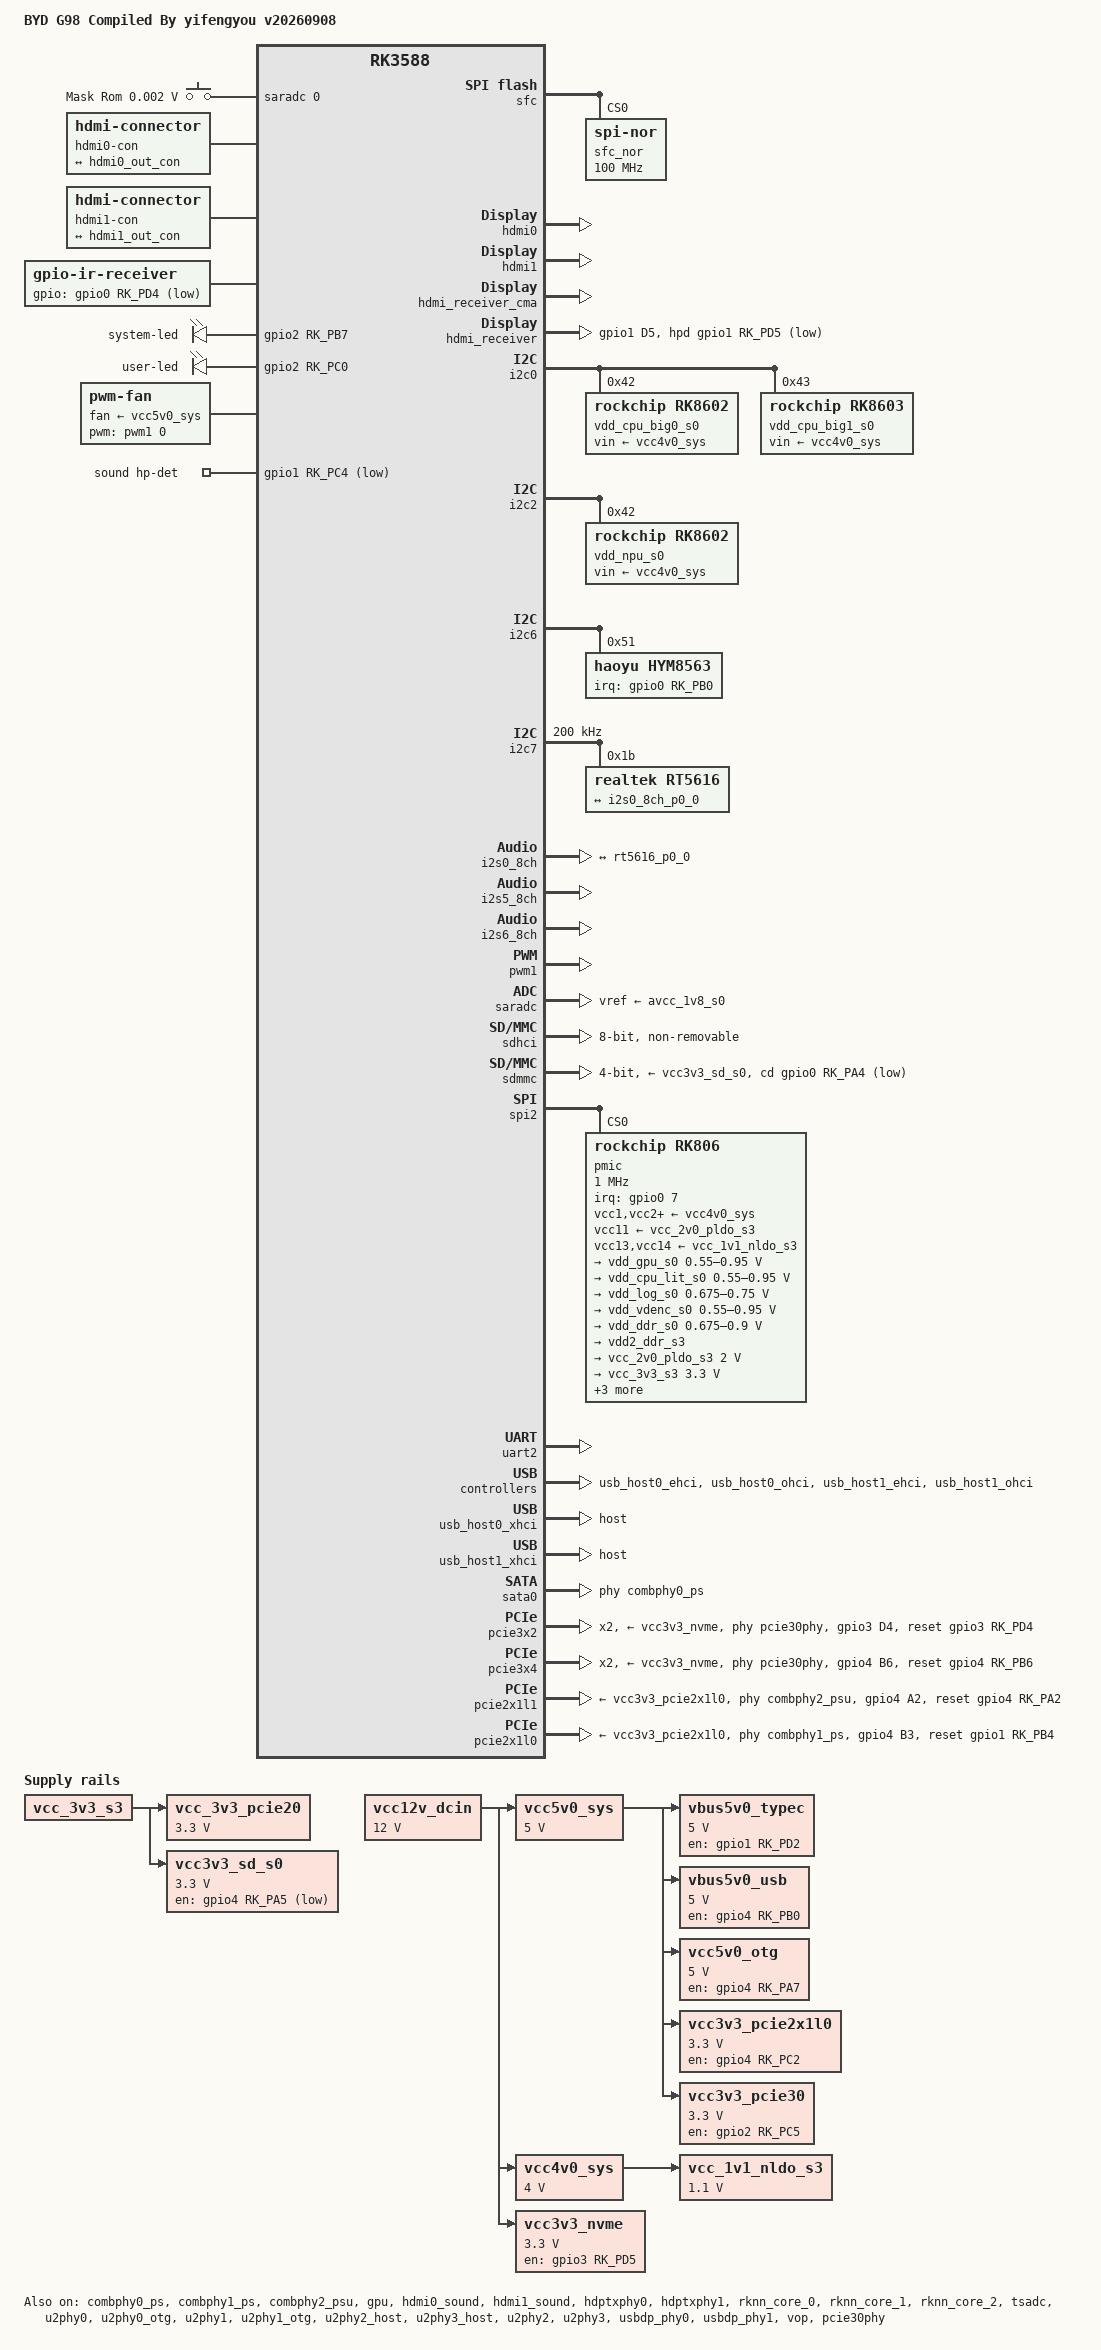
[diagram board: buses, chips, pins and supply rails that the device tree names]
// SPDX-License-Identifier: (GPL-2.0+ OR MIT)
/*
 * Copyright (c) 2021 Rockchip Electronics Co., Ltd.
 * Copyright (c) 2023 Thomas McKahan
 *
 */
/dts-v1/;

#include <dt-bindings/gpio/gpio.h>
#include <dt-bindings/input/input.h>
#include <dt-bindings/pinctrl/rockchip.h>
#include <dt-bindings/soc/rockchip,vop2.h>
#include <dt-bindings/thermal/thermal.h>
#include <dt-bindings/usb/pd.h>
#include "rk3588.dtsi"

/ {
	model = "BYD G98 Compiled By yifengyou v20260908";
	compatible = "rockchip,rk3588", "rockchip,rk3588-evb";

	chosen {
		stdout-path = "serial2:1500000n8";
		u-boot,spl-boot-order = "same-as-spl", &spi_nor;
	};

	aliases {
		spi5 = &sfc;
		mmc0 = &sdhci;
		mmc1 = &sdmmc;
	};

	adc-keys-0 {
		compatible = "adc-keys";
		io-channels = <&saradc 0>;
		io-channel-names = "buttons";
		keyup-threshold-microvolt = <1800000>;
		poll-interval = <100>;

		button-maskrom {
			label = "Mask Rom";
			linux,code = <KEY_SETUP>;
			press-threshold-microvolt = <2000>;
		};
	};

	hdmi0-con {
		compatible = "hdmi-connector";
		type = "a";

		port {
			hdmi0_con_in: endpoint {
				remote-endpoint = <&hdmi0_out_con>;
			};
		};
	};

	hdmi1-con {
		compatible = "hdmi-connector";
		type = "a";

		port {
			hdmi1_con_in: endpoint {
				remote-endpoint = <&hdmi1_out_con>;
			};
		};
	};

	ir-receiver {
		compatible = "gpio-ir-receiver";
		gpios = <&gpio0 RK_PD4 GPIO_ACTIVE_LOW>;
		pinctrl-names = "default";
		pinctrl-0 = <&ir_receiver_pin>;
	};

	leds {
		compatible = "gpio-leds";

		sys_led: led-0 {
			gpios = <&gpio2 RK_PB7 GPIO_ACTIVE_HIGH>;
			label = "system-led";
			linux,default-trigger = "heartbeat";
			pinctrl-names = "default";
			pinctrl-0 = <&sys_led_pin>;
		};

		usr_led: led-1 {
			gpios = <&gpio2 RK_PC0 GPIO_ACTIVE_HIGH>;
			label = "user-led";
			pinctrl-names = "default";
			pinctrl-0 = <&usr_led_pin>;
		};
	};

	fan: pwm-fan {
		compatible = "pwm-fan";
		cooling-levels = <0 35 64 100 150 255>;
		fan-supply = <&vcc5v0_sys>;
		pwms = <&pwm1 0 50000 0>;
		#cooling-cells = <2>;
	};

	sound {
		compatible = "simple-audio-card";
		pinctrl-names = "default";
		pinctrl-0 = <&hp_det>;

		simple-audio-card,name = "realtek,rt5616-codec";
		simple-audio-card,format = "i2s";
		simple-audio-card,mclk-fs = <256>;

		simple-audio-card,hp-det-gpios = <&gpio1 RK_PC4 GPIO_ACTIVE_LOW>;

		simple-audio-card,widgets =
			"Headphone", "Headphones",
			"Microphone", "Microphone Jack";
		simple-audio-card,routing =
			"Headphones", "HPOL",
			"Headphones", "HPOR",
			"MIC1", "Microphone Jack",
			"Microphone Jack", "micbias1";

		simple-audio-card,cpu {
			sound-dai = <&i2s0_8ch>;
		};
		simple-audio-card,codec {
			sound-dai = <&rt5616>;
		};
	};

	vcc12v_dcin: regulator-vcc12v-dcin {
		compatible = "regulator-fixed";
		regulator-name = "vcc12v_dcin";
		regulator-always-on;
		regulator-boot-on;
		regulator-min-microvolt = <12000000>;
		regulator-max-microvolt = <12000000>;
	};

	/* vcc5v0_sys powers peripherals */
	vcc5v0_sys: regulator-vcc5v0-sys {
		compatible = "regulator-fixed";
		regulator-name = "vcc5v0_sys";
		regulator-always-on;
		regulator-boot-on;
		regulator-min-microvolt = <5000000>;
		regulator-max-microvolt = <5000000>;
		vin-supply = <&vcc12v_dcin>;
	};

	/* vcc4v0_sys powers the RK806, RK860's */
	vcc4v0_sys: regulator-vcc4v0-sys {
		compatible = "regulator-fixed";
		regulator-name = "vcc4v0_sys";
		regulator-always-on;
		regulator-boot-on;
		regulator-min-microvolt = <4000000>;
		regulator-max-microvolt = <4000000>;
		vin-supply = <&vcc12v_dcin>;
	};

	vcc_1v1_nldo_s3: regulator-vcc-1v1-nldo-s3 {
		compatible = "regulator-fixed";
		regulator-name = "vcc-1v1-nldo-s3";
		regulator-always-on;
		regulator-boot-on;
		regulator-min-microvolt = <1100000>;
		regulator-max-microvolt = <1100000>;
		vin-supply = <&vcc4v0_sys>;
	};

	vcc_3v3_pcie20: regulator-vcc3v3-pcie20 {
		compatible = "regulator-fixed";
		regulator-name = "vcc_3v3_pcie20";
		regulator-always-on;
		regulator-boot-on;
		regulator-min-microvolt = <3300000>;
		regulator-max-microvolt = <3300000>;
		vin-supply = <&vcc_3v3_s3>;
	};

	vbus5v0_typec: regulator-vbus5v0-typec {
		compatible = "regulator-fixed";
		enable-active-high;
		gpio = <&gpio1 RK_PD2 GPIO_ACTIVE_HIGH>;
		pinctrl-names = "default";
		pinctrl-0 = <&typec5v_pwren>;
		regulator-name = "vbus5v0_typec";
		regulator-min-microvolt = <5000000>;
		regulator-max-microvolt = <5000000>;
		vin-supply = <&vcc5v0_sys>;
	};

	vbus5v0_usb: regulator-vbus5v0-usb {
		compatible = "regulator-fixed";
		enable-active-high;
		gpio = <&gpio4 RK_PB0 GPIO_ACTIVE_HIGH>;
		pinctrl-names = "default";
		pinctrl-0 = <&usb5v_pwren>;
		regulator-name = "vbus5v0_usb";
		regulator-min-microvolt = <5000000>;
		regulator-max-microvolt = <5000000>;
		vin-supply = <&vcc5v0_sys>;
	};

	// vcc5v0-otg-regulator
	vcc5v0_otg: regulator-vbus5v0-usb-otg {
		compatible = "regulator-fixed";
		enable-active-high;
		gpio = <&gpio4 RK_PA7 GPIO_ACTIVE_HIGH>;
		pinctrl-names = "default";
		pinctrl-0 = <&vcc5v0_otg_en>;
		regulator-min-microvolt = <5000000>;
		regulator-max-microvolt = <5000000>;
		regulator-name = "vcc5v0_otg";
		vin-supply = <&vcc5v0_sys>;
		u-boot,dm-pre-reloc;
	};

	vcc3v3_pcie2x1l0: regulator-vcc3v3-pcie2x1l0 {
		compatible = "regulator-fixed";
		enable-active-high;
		gpio = <&gpio4 RK_PC2 GPIO_ACTIVE_HIGH>;
		pinctrl-names = "default";
		pinctrl-0 = <&pcie_m2_1_pwren>;
		regulator-name = "vcc3v3_pcie2x1l0";
		regulator-min-microvolt = <3300000>;
		regulator-max-microvolt = <3300000>;
		vin-supply = <&vcc5v0_sys>;
		startup-delay-us = <7500>;
		regulator-always-on;
	};

	vcc3v3_pcie30: regulator-vcc3v3-pcie30 {
		compatible = "regulator-fixed";
		enable-active-high;
		gpios = <&gpio2 RK_PC5 GPIO_ACTIVE_HIGH>;
		pinctrl-names = "default";
		pinctrl-0 = <&pcie_m2_0_pwren>;
		regulator-name = "vcc3v3_pcie30";
		regulator-min-microvolt = <3300000>;
		regulator-max-microvolt = <3300000>;
		vin-supply = <&vcc5v0_sys>;
	};

	// vcc3v3-pcie30
	vcc3v3_nvme: vcc3v3-nvme {
		compatible = "regulator-fixed";
		regulator-min-microvolt = <3300000>;
		regulator-max-microvolt = <3300000>;
		regulator-name = "vcc3v3_nvme";
		vin-supply = <&vcc12v_dcin>;
		enable-active-high;
		gpios = <&gpio3 RK_PD5 GPIO_ACTIVE_HIGH>;
		startup-delay-us = <7500>;
		pinctrl-names = "default";
		pinctrl-0 = <&nvme_power_en>;
		regulator-always-on;
		u-boot,dm-pre-reloc;
	};

	vcc3v3_sd_s0: regulator-vcc3v3-sd-s0 {
		compatible = "regulator-fixed";
		gpio = <&gpio4 RK_PA5 GPIO_ACTIVE_LOW>;
		regulator-boot-on;
		regulator-max-microvolt = <3300000>;
		regulator-min-microvolt = <3300000>;
		regulator-name = "vcc3v3_sd_s0";
		vin-supply = <&vcc_3v3_s3>;
	};
};


&pinctrl {
	nvme {
		nvme_power_en: nvme-power-en {
			rockchip,pins = <3 RK_PD5 RK_FUNC_GPIO &pcfg_pull_none>;
		};
	};

	usb {
		pin_4g_lte_pwren: 4g-lte-pwren {
			rockchip,pins = <4 RK_PC6 RK_FUNC_GPIO &pcfg_pull_none>;
		};
	};

	pcie {
		pcie2_0_rst: pcie2-0-rst {
			rockchip,pins = <1 RK_PB4 RK_FUNC_GPIO &pcfg_pull_none>;
		};

		pcie2_1_rst: pcie2-1-rst {
			rockchip,pins = <4 RK_PA2 RK_FUNC_GPIO &pcfg_pull_none>;
		};

		pcie3x2_rst: pcie3x2-rst {
			rockchip,pins = <3 RK_PD4 RK_FUNC_GPIO &pcfg_pull_none>;
		};

		pcie3x4_rst: pcie3x4-rst {
			rockchip,pins = <4 RK_PB6 RK_FUNC_GPIO &pcfg_pull_none>;
		};
	};
};

// sfc: spi@fe2b0000
&sfc {
	status = "okay";
	u-boot,dm-pre-reloc;
	u-boot,dm-spl;
	bootph-all;
	bootph-pre-ram;
	bootph-some-ram;
	pinctrl-names = "default";
	pinctrl-0 = <&fspim0_pins>;
	/delete-node/ flash@1;

	spi_nor: flash@0 {
		u-boot,dm-spl;
		compatible = "jedec,spi-nor";
		label = "sfc_nor";
		reg = <0x00>;
		spi-tx-bus-width = <0x01>;
		spi-rx-bus-width = <0x04>;
		spi-max-frequency = <0x5f5e100>;
		spi-4byte-addressing;
		bootph-all;
		bootph-pre-ram;
		bootph-some-ram;
	};
};

&combphy0_ps {
	status = "okay";
};

&combphy1_ps {
	status = "okay";
};

&combphy2_psu {
	status = "okay";
};

&cpu_l0 {
	cpu-supply = <&vdd_cpu_lit_s0>;
};

&cpu_l1 {
	cpu-supply = <&vdd_cpu_lit_s0>;
};

&cpu_l2 {
	cpu-supply = <&vdd_cpu_lit_s0>;
};

&cpu_l3 {
	cpu-supply = <&vdd_cpu_lit_s0>;
};

&cpu_b0 {
	cpu-supply = <&vdd_cpu_big0_s0>;
};

&cpu_b1 {
	cpu-supply = <&vdd_cpu_big0_s0>;
};

&cpu_b2 {
	cpu-supply = <&vdd_cpu_big1_s0>;
};

&cpu_b3 {
	cpu-supply = <&vdd_cpu_big1_s0>;
};

&gpio0 {
	gpio-line-names = /* GPIO0 A0-A7 */
			  "", "", "", "",
			  "", "", "", "",
			  /* GPIO0 B0-B7 */
			  "", "", "", "",
			  "", "", "", "",
			  /* GPIO0 C0-C7 */
			  "", "", "", "",
			  "HEADER_10", "HEADER_08", "HEADER_32", "",
			  /* GPIO0 D0-D7 */
			  "", "", "", "",
			  "IR receiver [PWM3_IR_M0]", "", "", "";
};

&gpio1 {
	gpio-line-names = /* GPIO1 A0-A7 */
			  "HEADER_27", "HEADER_28", "", "",
			  "", "", "", "HEADER_15",
			  /* GPIO1 B0-B7 */
			  "HEADER_26", "HEADER_21", "HEADER_19", "HEADER_23",
			  "HEADER_24", "HEADER_22", "", "",
			  /* GPIO1 C0-C7 */
			  "", "", "", "",
			  "", "", "", "",
			  /* GPIO1 D0-D7 */
			  "", "", "", "",
			  "", "", "HEADER_05", "HEADER_03";
};

&gpio2 {
	gpio-line-names = /* GPIO2 A0-A7 */
			  "", "", "", "",
			  "", "", "", "",
			  /* GPIO2 B0-B7 */
			  "", "", "", "",
			  "", "", "", "",
			  /* GPIO2 C0-C7 */
			  "", "CSI1_11", "CSI1_12", "",
			  "", "", "", "",
			  /* GPIO2 D0-D7 */
			  "", "", "", "",
			  "", "", "", "";
};

&gpio3 {
	gpio-line-names = /* GPIO3 A0-A7 */
			  "HEADER_35", "HEADER_38", "HEADER_40", "HEADER_36",
			  "HEADER_37", "", "DSI0_12", "",
			  /* GPIO3 B0-B7 */
			  "HEADER_33", "DSI0_10", "HEADER_07", "HEADER_16",
			  "HEADER_18", "HEADER_29", "HEADER_31", "HEADER_12",
			  /* GPIO3 C0-C7 */
			  "DSI0_08", "DSI0_14", "HEADER_11", "HEADER_13",
			  "", "", "", "",
			  /* GPIO3 D0-D7 */
			  "", "", "", "",
			  "", "DSI1_10", "", "";
};

&gpio4 {
	gpio-line-names = /* GPIO4 A0-A7 */
			  "DSI1_08", "DSI1_14", "", "DSI1_12",
			  "", "", "", "",
			  /* GPIO4 B0-B7 */
			  "", "", "", "",
			  "", "", "", "",
			  /* GPIO4 C0-C7 */
			  "", "", "", "",
			  "CSI0_11", "CSI0_12", "", "",
			  /* GPIO4 D0-D7 */
			  "", "", "", "",
			  "", "", "", "";
};

&gpu {
	mali-supply = <&vdd_gpu_s0>;
	status = "okay";
};

&hdmi0 {
	status = "okay";
};

&hdmi0_in {
	hdmi0_in_vp0: endpoint {
		remote-endpoint = <&vp0_out_hdmi0>;
	};
};

&hdmi0_out {
	hdmi0_out_con: endpoint {
		remote-endpoint = <&hdmi0_con_in>;
	};
};

&hdmi0_sound {
	status = "okay";
};

&hdmi1 {
	status = "okay";
};

&hdmi1_in {
	hdmi1_in_vp1: endpoint {
		remote-endpoint = <&vp1_out_hdmi1>;
	};
};

&hdmi1_out {
	hdmi1_out_con: endpoint {
		remote-endpoint = <&hdmi1_con_in>;
	};
};

&hdmi1_sound {
	status = "okay";
};

&hdmi_receiver_cma {
	status = "okay";
};

&hdmi_receiver {
	hpd-gpios = <&gpio1 RK_PD5 GPIO_ACTIVE_LOW>;
	pinctrl-0 = <&hdmim1_rx_cec &hdmim1_rx_hpdin &hdmim1_rx_scl &hdmim1_rx_sda &hdmirx_hpd>;
	pinctrl-names = "default";
	status = "okay";
};

&hdptxphy0 {
	status = "okay";
};

&hdptxphy1 {
	status = "okay";
};

&i2c0 {
	pinctrl-names = "default";
	pinctrl-0 = <&i2c0m2_xfer>;
	status = "okay";

	vdd_cpu_big0_s0: regulator@42 {
		compatible = "rockchip,rk8602";
		reg = <0x42>;
		fcs,suspend-voltage-selector = <1>;
		regulator-name = "vdd_cpu_big0_s0";
		regulator-always-on;
		regulator-boot-on;
		regulator-min-microvolt = <550000>;
		regulator-max-microvolt = <1050000>;
		regulator-ramp-delay = <2300>;
		vin-supply = <&vcc4v0_sys>;

		regulator-state-mem {
			regulator-off-in-suspend;
		};
	};

	vdd_cpu_big1_s0: regulator@43 {
		compatible = "rockchip,rk8603", "rockchip,rk8602";
		reg = <0x43>;
		fcs,suspend-voltage-selector = <1>;
		regulator-name = "vdd_cpu_big1_s0";
		regulator-always-on;
		regulator-boot-on;
		regulator-min-microvolt = <550000>;
		regulator-max-microvolt = <1050000>;
		regulator-ramp-delay = <2300>;
		vin-supply = <&vcc4v0_sys>;

		regulator-state-mem {
			regulator-off-in-suspend;
		};
	};
};

&i2c2 {
	status = "okay";

	vdd_npu_s0: regulator@42 {
		compatible = "rockchip,rk8602";
		reg = <0x42>;
		fcs,suspend-voltage-selector = <1>;
		regulator-name = "vdd_npu_s0";
		regulator-boot-on;
		regulator-min-microvolt = <550000>;
		regulator-max-microvolt = <950000>;
		regulator-ramp-delay = <2300>;
		vin-supply = <&vcc4v0_sys>;

		regulator-state-mem {
			regulator-off-in-suspend;
		};
	};
};

&i2c6 {
	status = "okay";

	hym8563: rtc@51 {
		compatible = "haoyu,hym8563";
		reg = <0x51>;
		#clock-cells = <0>;
		clock-output-names = "hym8563";
		pinctrl-names = "default";
		pinctrl-0 = <&hym8563_int>;
		interrupt-parent = <&gpio0>;
		interrupts = <RK_PB0 IRQ_TYPE_LEVEL_LOW>;
		wakeup-source;
	};
};

&i2c7 {
	clock-frequency = <200000>;
	status = "okay";

	rt5616: codec@1b {
		compatible = "realtek,rt5616";
		reg = <0x1b>;
		clocks = <&cru I2S0_8CH_MCLKOUT>;
		clock-names = "mclk";
		#sound-dai-cells = <0>;
		assigned-clocks = <&cru I2S0_8CH_MCLKOUT>;
		assigned-clock-rates = <12288000>;

		port {
			rt5616_p0_0: endpoint {
				remote-endpoint = <&i2s0_8ch_p0_0>;
			};
		};
	};

	/* connected with MIPI-CSI1 */
};

&i2c8 {
	pinctrl-0 = <&i2c8m2_xfer>;
};

&i2s0_8ch {
	pinctrl-names = "default";
	pinctrl-0 = <&i2s0_lrck
		     &i2s0_mclk
		     &i2s0_sclk
		     &i2s0_sdi0
		     &i2s0_sdo0>;
	status = "okay";

	i2s0_8ch_p0: port {
		i2s0_8ch_p0_0: endpoint {
			dai-format = "i2s";
			mclk-fs = <256>;
			remote-endpoint = <&rt5616_p0_0>;
		};
	};
};

&i2s5_8ch {
	status = "okay";
};

&i2s6_8ch {
	status = "okay";
};

&package_thermal {
	polling-delay = <1000>;

	trips {
		package_warm: package-warm {
			temperature = <55000>;
			hysteresis = <2000>;
			type = "active";
		};

		package_hot: package-hot {
			temperature = <65000>;
			hysteresis = <2000>;
			type = "active";
		};
	};

	cooling-maps {
		map0 {
			trip = <&package_warm>;
			cooling-device = <&fan THERMAL_NO_LIMIT 1>;
		};

		map1 {
			trip = <&package_hot>;
			cooling-device = <&fan 2 THERMAL_NO_LIMIT>;
		};
	};
};

&pd_gpu {
	domain-supply = <&vdd_gpu_s0>;
};

&pd_npu {
	domain-supply = <&vdd_npu_s0>;
};

&pinctrl {
	gpio-leds {
		sys_led_pin: sys-led-pin {
			rockchip,pins = <2 RK_PB7 RK_FUNC_GPIO &pcfg_pull_none>;
		};

		usr_led_pin: usr-led-pin {
			rockchip,pins = <2 RK_PC0 RK_FUNC_GPIO &pcfg_pull_none>;
		};
	};

	hdmirx {
		hdmirx_hpd: hdmirx-5v-detection {
			rockchip,pins = <1 RK_PD5 RK_FUNC_GPIO &pcfg_pull_none>;
		};
	};

	headphone {
		hp_det: hp-det {
			rockchip,pins = <1 RK_PC4 RK_FUNC_GPIO &pcfg_pull_none>;
		};
	};

	hym8563 {
		hym8563_int: hym8563-int {
			rockchip,pins = <0 RK_PB0 RK_FUNC_GPIO &pcfg_pull_up>;
		};
	};

	ir-receiver {
		ir_receiver_pin: ir-receiver-pin {
			rockchip,pins = <0 RK_PD4 RK_FUNC_GPIO &pcfg_pull_none>;
		};
	};

	pcie {
		pcie2_0_rst: pcie2-0-rst {
			rockchip,pins = <4 RK_PB3 RK_FUNC_GPIO &pcfg_pull_none>;
		};

		pcie2_1_rst: pcie2-1-rst {
			rockchip,pins = <4 RK_PA2 RK_FUNC_GPIO &pcfg_pull_none>;
		};

		pcie2_2_rst: pcie2-2-rst {
			rockchip,pins = <4 RK_PA4 RK_FUNC_GPIO &pcfg_pull_none>;
		};

		pcie_m2_0_pwren: pcie-m20-pwren {
			rockchip,pins = <2 RK_PC5 RK_FUNC_GPIO &pcfg_pull_none>;
		};

		pcie_m2_1_pwren: pcie-m21-pwren {
			rockchip,pins = <4 RK_PC2 RK_FUNC_GPIO &pcfg_pull_none>;
		};
	};

	usb {
		typec5v_pwren: typec5v-pwren {
			rockchip,pins = <1 RK_PD2 RK_FUNC_GPIO &pcfg_pull_none>;
		};

		usb5v_pwren: usb5v_pwren {
			rockchip,pins = <4 RK_PB0 RK_FUNC_GPIO &pcfg_pull_none>;
		};

		vcc5v0_otg_en: vcc5v0-otg-en {
			rockchip,pins = <4 RK_PA7 RK_FUNC_GPIO &pcfg_pull_none>;
		};

		usbc0_int: usbc0-int {
			rockchip,pins = <0 RK_PD3 RK_FUNC_GPIO &pcfg_pull_up>;
		};
	};
};

&pwm1 {
	pinctrl-0 = <&pwm1m1_pins>;
	status = "okay";
};

&rknn_core_0 {
	npu-supply = <&vdd_npu_s0>;
	sram-supply = <&vdd_npu_s0>;
	status = "okay";
};

&rknn_core_1 {
	npu-supply = <&vdd_npu_s0>;
	sram-supply = <&vdd_npu_s0>;
	status = "okay";
};

&rknn_core_2 {
	npu-supply = <&vdd_npu_s0>;
	sram-supply = <&vdd_npu_s0>;
	status = "okay";
};

&rknn_mmu_0 {
	status = "okay";
};

&rknn_mmu_1 {
	status = "okay";
};

&rknn_mmu_2 {
	status = "okay";
};


&saradc {
	vref-supply = <&avcc_1v8_s0>;
	status = "okay";
};

&sdhci {
	bus-width = <8>;
	no-sdio;
	no-sd;
	non-removable;
	max-frequency = <200000000>;
	mmc-hs400-1_8v;
	mmc-hs400-enhanced-strobe;
	status = "okay";
};

&sdmmc {
	bus-width = <4>;
	cap-mmc-highspeed;
	cap-sd-highspeed;
	cd-gpios = <&gpio0 RK_PA4 GPIO_ACTIVE_LOW>;
	disable-wp;
	no-mmc;
	no-sdio;
	sd-uhs-sdr104;
	vmmc-supply = <&vcc3v3_sd_s0>;
	vqmmc-supply = <&vccio_sd_s0>;
	status = "okay";
};

&spi2 {
	status = "okay";
	assigned-clocks = <&cru CLK_SPI2>;
	assigned-clock-rates = <200000000>;
	pinctrl-names = "default";
	pinctrl-0 = <&spi2m2_cs0 &spi2m2_pins>;
	num-cs = <1>;

	pmic@0 {
		compatible = "rockchip,rk806";
		spi-max-frequency = <1000000>;
		reg = <0x0>;

		interrupt-parent = <&gpio0>;
		interrupts = <7 IRQ_TYPE_LEVEL_LOW>;

		pinctrl-names = "default";
		pinctrl-0 = <&pmic_pins>, <&rk806_dvs1_null>,
			    <&rk806_dvs2_null>, <&rk806_dvs3_null>;

		system-power-controller;

		vcc1-supply = <&vcc4v0_sys>;
		vcc2-supply = <&vcc4v0_sys>;
		vcc3-supply = <&vcc4v0_sys>;
		vcc4-supply = <&vcc4v0_sys>;
		vcc5-supply = <&vcc4v0_sys>;
		vcc6-supply = <&vcc4v0_sys>;
		vcc7-supply = <&vcc4v0_sys>;
		vcc8-supply = <&vcc4v0_sys>;
		vcc9-supply = <&vcc4v0_sys>;
		vcc10-supply = <&vcc4v0_sys>;
		vcc11-supply = <&vcc_2v0_pldo_s3>;
		vcc12-supply = <&vcc4v0_sys>;
		vcc13-supply = <&vcc_1v1_nldo_s3>;
		vcc14-supply = <&vcc_1v1_nldo_s3>;
		vcca-supply = <&vcc4v0_sys>;

		gpio-controller;
		#gpio-cells = <2>;

		rk806_dvs1_null: dvs1-null-pins {
			pins = "gpio_pwrctrl1";
			function = "pin_fun0";
		};

		rk806_dvs2_null: dvs2-null-pins {
			pins = "gpio_pwrctrl2";
			function = "pin_fun0";
		};

		rk806_dvs3_null: dvs3-null-pins {
			pins = "gpio_pwrctrl3";
			function = "pin_fun0";
		};

		regulators {
			vdd_gpu_s0: vdd_gpu_mem_s0: dcdc-reg1 {
				regulator-boot-on;
				regulator-min-microvolt = <550000>;
				regulator-max-microvolt = <950000>;
				regulator-ramp-delay = <12500>;
				regulator-name = "vdd_gpu_s0";
				regulator-enable-ramp-delay = <400>;

				regulator-state-mem {
					regulator-off-in-suspend;
				};
			};

			vdd_cpu_lit_s0: vdd_cpu_lit_mem_s0: dcdc-reg2 {
				regulator-always-on;
				regulator-boot-on;
				regulator-min-microvolt = <550000>;
				regulator-max-microvolt = <950000>;
				regulator-ramp-delay = <12500>;
				regulator-name = "vdd_cpu_lit_s0";

				regulator-state-mem {
					regulator-off-in-suspend;
				};
			};

			vdd_log_s0: dcdc-reg3 {
				regulator-always-on;
				regulator-boot-on;
				regulator-min-microvolt = <675000>;
				regulator-max-microvolt = <750000>;
				regulator-ramp-delay = <12500>;
				regulator-name = "vdd_log_s0";

				regulator-state-mem {
					regulator-off-in-suspend;
					regulator-suspend-microvolt = <750000>;
				};
			};

			vdd_vdenc_s0: vdd_vdenc_mem_s0: dcdc-reg4 {
				regulator-always-on;
				regulator-boot-on;
				regulator-min-microvolt = <550000>;
				regulator-max-microvolt = <950000>;
				regulator-ramp-delay = <12500>;
				regulator-name = "vdd_vdenc_s0";

				regulator-state-mem {
					regulator-off-in-suspend;
				};
			};

			vdd_ddr_s0: dcdc-reg5 {
				regulator-always-on;
				regulator-boot-on;
				regulator-min-microvolt = <675000>;
				regulator-max-microvolt = <900000>;
				regulator-ramp-delay = <12500>;
				regulator-name = "vdd_ddr_s0";

				regulator-state-mem {
					regulator-off-in-suspend;
					regulator-suspend-microvolt = <850000>;
				};
			};

			vdd2_ddr_s3: dcdc-reg6 {
				regulator-always-on;
				regulator-boot-on;
				regulator-name = "vdd2_ddr_s3";

				regulator-state-mem {
					regulator-on-in-suspend;
				};
			};

			vcc_2v0_pldo_s3: dcdc-reg7 {
				regulator-always-on;
				regulator-boot-on;
				regulator-min-microvolt = <2000000>;
				regulator-max-microvolt = <2000000>;
				regulator-ramp-delay = <12500>;
				regulator-name = "vdd_2v0_pldo_s3";

				regulator-state-mem {
					regulator-on-in-suspend;
					regulator-suspend-microvolt = <2000000>;
				};
			};

			vcc_3v3_s3: dcdc-reg8 {
				regulator-always-on;
				regulator-boot-on;
				regulator-min-microvolt = <3300000>;
				regulator-max-microvolt = <3300000>;
				regulator-name = "vcc_3v3_s3";

				regulator-state-mem {
					regulator-on-in-suspend;
					regulator-suspend-microvolt = <3300000>;
				};
			};

			vddq_ddr_s0: dcdc-reg9 {
				regulator-always-on;
				regulator-boot-on;
				regulator-name = "vddq_ddr_s0";

				regulator-state-mem {
					regulator-off-in-suspend;
				};
			};

			vcc_1v8_s3: dcdc-reg10 {
				regulator-always-on;
				regulator-boot-on;
				regulator-min-microvolt = <1800000>;
				regulator-max-microvolt = <1800000>;
				regulator-name = "vcc_1v8_s3";

				regulator-state-mem {
					regulator-on-in-suspend;
					regulator-suspend-microvolt = <1800000>;
				};
			};

			avcc_1v8_s0: pldo-reg1 {
				regulator-always-on;
				regulator-boot-on;
				regulator-min-microvolt = <1800000>;
				regulator-max-microvolt = <1800000>;
				regulator-name = "avcc_1v8_s0";

				regulator-state-mem {
					regulator-off-in-suspend;
				};
			};

			vcc_1v8_s0: pldo-reg2 {
				regulator-always-on;
				regulator-boot-on;
				regulator-min-microvolt = <1800000>;
				regulator-max-microvolt = <1800000>;
				regulator-name = "vcc_1v8_s0";

				regulator-state-mem {
					regulator-off-in-suspend;
					regulator-suspend-microvolt = <1800000>;
				};
			};

			avdd_1v2_s0: pldo-reg3 {
				regulator-always-on;
				regulator-boot-on;
				regulator-min-microvolt = <1200000>;
				regulator-max-microvolt = <1200000>;
				regulator-name = "avdd_1v2_s0";

				regulator-state-mem {
					regulator-off-in-suspend;
				};
			};

			vcc_3v3_s0: pldo-reg4 {
				regulator-always-on;
				regulator-boot-on;
				regulator-min-microvolt = <3300000>;
				regulator-max-microvolt = <3300000>;
				regulator-ramp-delay = <12500>;
				regulator-name = "vcc_3v3_s0";

				regulator-state-mem {
					regulator-off-in-suspend;
				};
			};

			vccio_sd_s0: pldo-reg5 {
				regulator-always-on;
				regulator-boot-on;
				regulator-min-microvolt = <1800000>;
				regulator-max-microvolt = <3300000>;
				regulator-ramp-delay = <12500>;
				regulator-name = "vccio_sd_s0";

				regulator-state-mem {
					regulator-off-in-suspend;
				};
			};

			pldo6_s3: pldo-reg6 {
				regulator-always-on;
				regulator-boot-on;
				regulator-min-microvolt = <1800000>;
				regulator-max-microvolt = <1800000>;
				regulator-name = "pldo6_s3";

				regulator-state-mem {
					regulator-on-in-suspend;
					regulator-suspend-microvolt = <1800000>;
				};
			};

			vdd_0v75_s3: nldo-reg1 {
				regulator-always-on;
				regulator-boot-on;
				regulator-min-microvolt = <750000>;
				regulator-max-microvolt = <750000>;
				regulator-name = "vdd_0v75_s3";

				regulator-state-mem {
					regulator-on-in-suspend;
					regulator-suspend-microvolt = <750000>;
				};
			};

			vdd_ddr_pll_s0: nldo-reg2 {
				regulator-always-on;
				regulator-boot-on;
				regulator-min-microvolt = <850000>;
				regulator-max-microvolt = <850000>;
				regulator-name = "vdd_ddr_pll_s0";

				regulator-state-mem {
					regulator-off-in-suspend;
					regulator-suspend-microvolt = <850000>;
				};
			};

			avdd_0v75_s0: nldo-reg3 {
				regulator-always-on;
				regulator-boot-on;
				regulator-min-microvolt = <750000>;
				regulator-max-microvolt = <750000>;
				regulator-name = "avdd_0v75_s0";

				regulator-state-mem {
					regulator-off-in-suspend;
				};
			};

			vdd_0v85_s0: nldo-reg4 {
				regulator-always-on;
				regulator-boot-on;
				regulator-min-microvolt = <850000>;
				regulator-max-microvolt = <850000>;
				regulator-name = "vdd_0v85_s0";

				regulator-state-mem {
					regulator-off-in-suspend;
				};
			};

			vdd_0v75_s0: nldo-reg5 {
				regulator-always-on;
				regulator-boot-on;
				regulator-min-microvolt = <750000>;
				regulator-max-microvolt = <750000>;
				regulator-name = "vdd_0v75_s0";

				regulator-state-mem {
					regulator-off-in-suspend;
				};
			};
		};
	};
};

&tsadc {
	status = "okay";
};

&uart2 {
	pinctrl-0 = <&uart2m0_xfer>;
	status = "okay";
};

&u2phy0 {
	status = "okay";
};

&u2phy0_otg {
	status = "okay";
};

&u2phy1 {
	status = "okay";
};

&u2phy1_otg {
	status = "okay";
};

&u2phy2_host {
	status = "okay";
};

&u2phy3_host {
	status = "okay";
};

&u2phy2 {
	status = "okay";
};

&u2phy3 {
	status = "okay";
};

&usbdp_phy0 {
	phy-supply = <&vcc5v0_otg>;
	status = "okay";
};

&usbdp_phy1 {
	phy-supply = <&vbus5v0_usb>;
	status = "okay";
};

&usb_host0_ehci {
	status = "okay";
};

&usb_host0_ohci {
	status = "okay";
};

// usb@fc000000
// Bus usb@fc000000: Register 2000140 NbrPorts 2 otg下载口
&usb_host0_xhci {
	dr_mode = "host";
	//maximum-speed = "super-speed";
	//usb-role-switch;
	status = "okay";
	u-boot,dm-pre-reloc;
};

// usb@fc400000，刷机口旁边的USB 3.0 正常
&usb_host1_xhci {
	dr_mode = "host";
	status = "okay";
	u-boot,dm-pre-reloc;
};

// &usb_host2_xhci usb@fcd00000 disabled

&usb_host1_ehci {
	status = "okay";
};

&usb_host1_ohci {
	status = "okay";
};

&vop_mmu {
	status = "okay";
};

&vop {
	status = "okay";
};

&vp0 {
	vp0_out_hdmi0: endpoint@ROCKCHIP_VOP2_EP_HDMI0 {
		reg = <ROCKCHIP_VOP2_EP_HDMI0>;
		remote-endpoint = <&hdmi0_in_vp0>;
	};
};

&vp1 {
	vp1_out_hdmi1: endpoint@ROCKCHIP_VOP2_EP_HDMI1 {
		reg = <ROCKCHIP_VOP2_EP_HDMI1>;
		remote-endpoint = <&hdmi1_in_vp1>;
	};
};

/* SATA 控制器 sata@fe210000 */
&sata0 {
	status = "okay";
	phys = <&combphy0_ps PHY_TYPE_SATA>;
	phy-names = "sata-phy";
	u-boot,dm-pre-reloc;
};

&sata1 {
	status = "disabled";
	u-boot,dm-pre-reloc;
};

/* RK3588 PCIe 3.0 x4 和 x2 共用此 PHY pcie30phy: phy@fee80000 */
&pcie30phy {
	status = "okay";
	/* PHY_MODE_PCIE_NANBNB 0 = P1:PCIe3x2  +  P0:PCIe3x2 */
	u-boot,dm-pre-reloc;
};

/* controller1 pcie3x2: pcie@fe160000 (靠近sata口的NVME槽位)*/
&pcie3x2 {
	pinctrl-names = "default";
	pinctrl-0 = <&pcie3x2_rst>;

	num-lanes = <2>;
	max-link-speed = <3>;

	reset-gpios = <&gpio3 RK_PD4 GPIO_ACTIVE_HIGH>;
	vpcie3v3-supply = <&vcc3v3_nvme>;

	rockchip,bifurcation;

	reset-delay-us = <100000>;
	rockchip,phy-init-delay-us = <50000>;

	/delete-property/ phys;
	phys = <&pcie30phy 0>;
	status = "okay";
	u-boot,dm-pre-reloc;
};

/* controller0 pcie3x4: pcie@fe150000 （靠近CPU的NVME槽位） */
&pcie3x4 {
	pinctrl-names = "default";
	pinctrl-0 = <&pcie3x4_rst>;

	num-lanes = <2>;
	max-link-speed = <3>;

	reset-gpios = <&gpio4 RK_PB6 GPIO_ACTIVE_HIGH>;
	vpcie3v3-supply = <&vcc3v3_nvme>;

	rockchip,bifurcation;
	rockchip,phy-init-delay-us = <50000>;
	reset-delay-us = <100000>;

	/delete-property/ phys;
	phys = <&pcie30phy 1>;
	status = "okay";
	u-boot,dm-pre-reloc;
};

// pcie2x1l1: pcie@fe180000 RTL8125 2.5G网卡
&pcie2x1l1 {
	pinctrl-names = "default";
	pinctrl-0 = <&pcie2_1_rst>;
	supports-clkreq;
	reset-gpios = <&gpio4 RK_PA2 GPIO_ACTIVE_HIGH>;
	vpcie3v3-supply = <&vcc3v3_pcie2x1l0>;

	phys = <&combphy2_psu PHY_TYPE_PCIE>;
	phy-names = "pcie-phy";

	reset-delay-us = <100000>;

	status = "okay";
	u-boot,dm-pre-reloc;
};

// pcie2x1l0: pcie@fe170000 RTL8125 2.5G网卡
&pcie2x1l0 {
	pinctrl-names = "default";
	pinctrl-0 = <&pcie2_0_rst>;
	supports-clkreq;
	reset-gpios = <&gpio1 RK_PB4 GPIO_ACTIVE_HIGH>;
	vpcie3v3-supply = <&vcc3v3_pcie2x1l0>;

	phys = <&combphy1_ps PHY_TYPE_PCIE>;
	phy-names = "pcie-phy";

	reset-delay-us = <100000>;

	status = "okay";
	u-boot,dm-pre-reloc;
};

// gmac0: ethernet@fe1b0000 motorcomm,yt9215
&gmac0 {
	clock_in_out = "output";
	phy-mode = "rgmii-rxid";
	tx_delay = <0x44>;
	pinctrl-0 = <&gmac0_miim &gmac0_tx_bus2 &gmac0_rx_bus2 &gmac0_rgmii_clk &gmac0_rgmii_bus>;
	pinctrl-names = "default";
	snps,reset-active-low;
	snps,reset-delays-us = <0x00 0x4e20 0x186a0>;
	snps,reset-gpio = <&gpio3 RK_PD0 GPIO_ACTIVE_LOW>;
	status = "disabled";
	u-boot,dm-pre-reloc;

	fixed-link {
		full-duplex;
		pause;
		speed = <1000>;
		u-boot,dm-pre-reloc;
		status = "disabled";
	};
	mdio0: mdio {
		compatible = "snps,dwmac-mdio";
		#address-cells = <1>;
		#size-cells = <0>;
		u-boot,dm-pre-reloc;
		status = "disabled";
	};
};

// gmac1: ethernet@fe1c0000 motorcomm,yt9215
&gmac1 {
	clock_in_out = "output";
	phy-mode = "rgmii-rxid";
	tx_delay = <0x42>;
	pinctrl-0 = <&gmac1_miim &gmac1_tx_bus2 &gmac1_rx_bus2 &gmac1_rgmii_clk &gmac1_rgmii_bus>;
	pinctrl-names = "default";
	snps,reset-active-low;
	snps,reset-delays-us = <0x00 0x4e20 0x186a0>;
	snps,reset-gpio = <&gpio4 RK_PB3 GPIO_ACTIVE_LOW>;
	status = "disabled";
	u-boot,dm-pre-reloc;

	fixed-link {
		full-duplex;
		pause;
		speed = <1000>;
		u-boot,dm-pre-reloc;
		status = "disabled";
	};

	mdio1: mdio {
		compatible = "snps,dwmac-mdio";
		#address-cells = <1>;
		#size-cells = <0>;
		u-boot,dm-pre-reloc;
		status = "disabled";
	};
};
